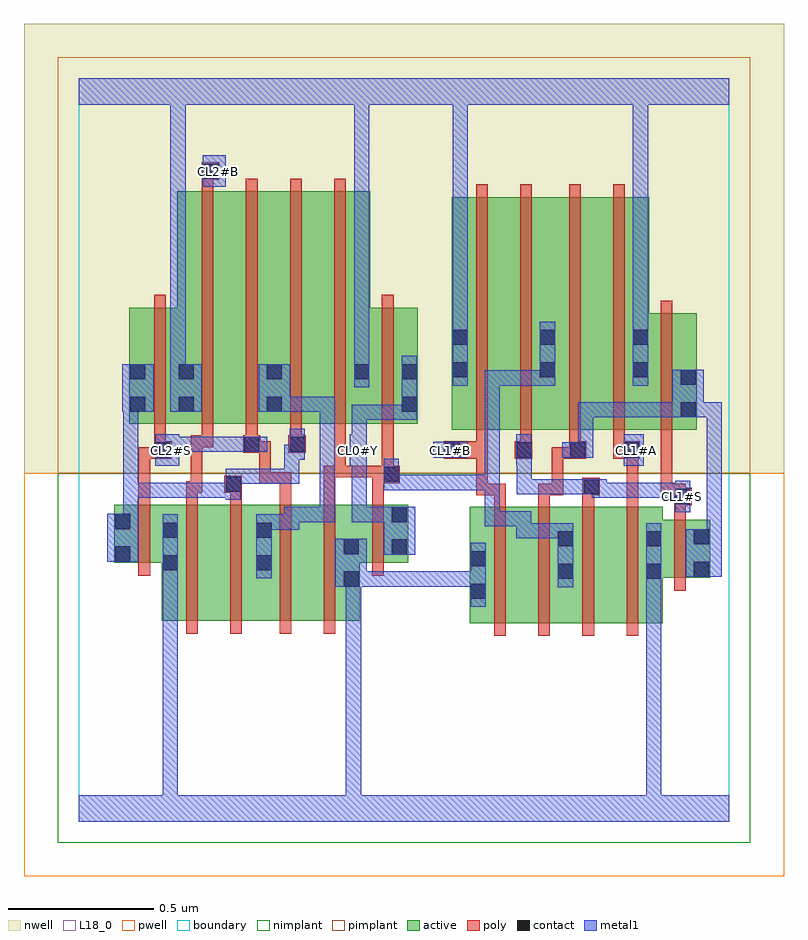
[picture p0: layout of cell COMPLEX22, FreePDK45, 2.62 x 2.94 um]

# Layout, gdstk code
import gdstk
lib = gdstk.Library(unit=1e-6, precision=1e-09)
def R(c, l, rs):  # rectangles x0, y0, x1, y1
    for r in rs: c.add(gdstk.rectangle(r[:2], r[2:], *l))
def A(c, l, x, y, w, h, nx, ny, dx, dy):  # array of equal rectangles
    R(c, l, [(x+i*dx, y+j*dy, x+i*dx+w, y+j*dy+h) for i in range(nx) for j in range(ny)])
active = (1, 0)
pwell = (2, 0)
nwell = (3, 0)
nimplant = (4, 0)
pimplant = (5, 0)
poly = (9, 0)
contact = (10, 0)
metal1 = (11, 0)
L18_0 = (18, 0)
boundary = (235, 0)

complex22 = lib.new_cell('COMPLEX22')
R(complex22, active, [(1.346,0.684,1.526,1.084), (1.526,0.684,1.706,1.084), (1.646,0.684,1.83,1.084), (1.83,0.684,2.01,1.084), (1.95,0.684,2.01,1.004), (0.286,0.692,0.466,1.092), (0.286,0.692,0.346,1.034), (0.466,0.692,0.668,1.092), (0.608,0.692,0.788,1.092), (0.788,0.692,0.968,1.092), (0.908,0.692,0.968,0.978), (0.608,0.756,0.668,1.034), (1.346,0.756,1.406,1.084), (1.646,0.756,1.706,1.004), (1.95,0.84,2.174,1.04), (2.114,0.84,2.174,1.04), (0.122,0.892,0.182,1.092), (0.122,0.892,0.346,1.092), (0.908,0.892,1.134,1.092), (1.074,0.916,1.134,1.092), (1.284,1.35,1.464,2.15), (1.284,1.35,1.344,2.044), (1.464,1.35,1.644,2.15), (1.584,1.35,1.784,2.15), (1.584,1.35,1.644,2.044), (1.784,1.35,1.964,2.15), (1.904,1.35,2.128,1.75), (1.904,1.35,1.964,1.698), (2.068,1.35,2.128,1.644), (0.174,1.37,0.234,1.644), (0.174,1.37,0.4,1.77), (0.34,1.37,0.52,2.17), (0.52,1.37,0.704,2.17), (0.644,1.37,0.824,2.17), (0.644,1.37,0.704,2.044), (0.824,1.37,1.004,2.17), (0.944,1.37,1.168,1.77), (0.944,1.37,1.004,1.746), (1.108,1.37,1.168,1.644), (0.34,1.408,0.4,1.644)])
R(complex22, pwell, [(-0.188,-0.188,2.428,1.2)])
R(complex22, nwell, [(-0.188,1.2,2.428,2.748)])
R(complex22, nimplant, [(-0.072,-0.072,2.312,1.2)])
R(complex22, pimplant, [(-0.072,1.2,2.312,2.632)])
A(complex22, poly, 1.43, 0.64, 0.04, 0.488, 4, 1, 0.152, 0)
A(complex22, poly, 1.43, 1.088, 0.04, 0.076, 3, 1, 0.152, 0)
A(complex22, poly, 0.424, 1.29, 0.04, 0.076, 3, 1, 0.152, 0)
A(complex22, poly, 0.424, 1.326, 0.04, 0.888, 4, 1, 0.152, 0)
R(complex22, poly, [(0.37,0.648,0.41,1.136), (0.522,0.648,0.562,1.136), (0.692,0.648,0.732,1.136), (0.844,0.648,0.884,1.136), (2.05,0.796,2.09,1.084), (0.206,0.848,0.246,1.136), (1.01,0.848,1.05,1.136), (2.05,1.044,2.09,1.13), (1.886,1.088,1.926,1.29), (2.05,1.09,2.11,1.15), (0.206,1.096,0.246,1.29), (0.37,1.096,0.41,1.172), (0.522,1.096,0.562,1.172), (0.692,1.096,0.732,1.204), (0.844,1.096,0.884,1.226), (1.01,1.096,1.05,1.206), (2.05,1.11,2.09,1.164), (1.368,1.124,1.408,1.29), (1.368,1.124,1.47,1.164), (1.582,1.124,1.668,1.164), (1.582,1.124,1.622,1.164), (1.628,1.124,1.668,1.164), (1.628,1.124,1.668,1.29), (1.734,1.124,1.794,1.184), (2.004,1.124,2.044,1.346), (2.004,1.124,2.09,1.164), (0.37,1.132,0.426,1.172), (0.386,1.132,0.426,1.33), (0.502,1.132,0.562,1.192), (0.622,1.164,0.662,1.204), (0.622,1.164,0.732,1.204), (0.622,1.164,0.662,1.31), (0.692,1.164,0.732,1.204), (1.01,1.166,1.106,1.226), (0.844,1.186,0.92,1.226), (0.88,1.186,0.92,1.226), (0.88,1.186,0.92,1.226), (0.88,1.186,0.92,1.366), (0.88,1.186,1.05,1.226), (1.01,1.186,1.05,1.226), (1.01,1.186,1.05,1.226), (1.044,1.186,1.084,1.226), (1.044,1.186,1.084,1.226), (1.044,1.186,1.084,1.366), (0.206,1.25,0.3,1.29), (0.26,1.25,0.32,1.31), (0.26,1.25,0.3,1.29), (1.256,1.25,1.408,1.31), (1.502,1.25,1.562,1.31), (1.628,1.25,1.668,1.29), (1.628,1.25,1.728,1.29), (1.688,1.25,1.748,1.31), (1.84,1.25,1.932,1.31), (1.886,1.25,1.926,1.29), (1.886,1.25,1.926,1.29), (0.26,1.27,0.3,1.366), (0.566,1.27,0.626,1.33), (0.586,1.27,0.662,1.31), (0.622,1.27,0.662,1.31), (0.722,1.27,0.782,1.33), (1.368,1.27,1.408,1.346), (1.52,1.27,1.56,1.346), (1.688,1.27,1.728,1.346), (1.84,1.27,1.88,1.346), (0.386,1.29,0.464,1.33), (1.368,1.306,1.408,2.194), (1.52,1.306,1.56,2.194), (1.688,1.306,1.728,2.194), (1.84,1.306,1.88,2.194), (2.004,1.306,2.044,1.794), (0.26,1.326,0.3,1.814), (1.044,1.326,1.084,1.814), (0.424,2.174,0.464,2.25), (0.424,2.21,0.484,2.27)])
R(complex22, contact, [(1.35,0.768,1.402,0.82), (0.912,0.81,0.964,0.862), (1.65,0.836,1.702,0.888), (1.954,0.836,2.006,0.888), (2.118,0.844,2.17,0.896), (0.29,0.866,0.342,0.918), (0.612,0.866,0.664,0.918), (1.35,0.88,1.402,0.932), (0.126,0.896,0.178,0.948), (1.078,0.92,1.13,0.972), (0.912,0.922,0.964,0.974), (1.65,0.948,1.702,1), (1.954,0.948,2.006,1), (2.118,0.956,2.17,1.008), (0.29,0.978,0.342,1.03), (0.612,0.978,0.664,1.03), (0.126,1.008,0.178,1.06), (1.078,1.032,1.13,1.084), (2.054,1.094,2.106,1.146), (1.738,1.128,1.79,1.18), (0.506,1.136,0.558,1.188), (1.05,1.17,1.102,1.222), (0.264,1.254,0.316,1.306), (1.26,1.254,1.312,1.306), (1.506,1.254,1.558,1.306), (1.692,1.254,1.744,1.306), (1.876,1.254,1.928,1.306), (0.57,1.274,0.622,1.326), (0.726,1.274,0.778,1.326), (2.072,1.392,2.124,1.444), (0.178,1.412,0.23,1.464), (0.344,1.412,0.396,1.464), (0.648,1.412,0.7,1.464), (1.112,1.412,1.164,1.464), (2.072,1.504,2.124,1.556), (0.178,1.524,0.23,1.576), (0.344,1.524,0.396,1.576), (0.648,1.524,0.7,1.576), (0.948,1.524,1,1.576), (1.112,1.524,1.164,1.576), (1.288,1.53,1.34,1.582), (1.588,1.53,1.64,1.582), (1.908,1.53,1.96,1.582), (1.288,1.642,1.34,1.694), (1.588,1.642,1.64,1.694), (1.908,1.642,1.96,1.694), (0.428,2.214,0.48,2.266)])
A(complex22, metal1, 0.83, 1.032, 0.052, 0.052, 3, 1, 0.11, 0)
R(complex22, metal1, [(0,0,2.24,0.092), (0.29,0.04,0.342,0.092), (0.29,0.04,0.342,0.092), (0.29,0.04,0.342,0.092), (0.29,0.04,0.342,0.092), (0.29,0.04,0.342,0.89), (0.92,0.04,0.972,0.862), (1.954,0.04,2.006,0.092), (1.954,0.04,2.006,0.092), (1.954,0.04,2.006,0.092), (1.954,0.04,2.006,0.092), (1.954,0.04,2.006,0.092), (1.954,0.04,2.006,0.092), (1.954,0.04,2.006,0.092), (1.954,0.04,2.006,0.092), (1.954,0.04,2.006,0.092), (1.954,0.04,2.006,0.092), (1.954,0.04,2.006,0.092), (1.954,0.04,2.006,0.092), (1.954,0.04,2.006,0.86), (1.35,0.74,1.402,0.96), (1.65,0.808,1.702,1.028), (1.954,0.808,2.006,1.028), (0.884,0.81,0.992,0.974), (0.92,0.81,0.972,0.862), (0.92,0.81,0.972,0.862), (0.92,0.81,0.972,0.862), (0.92,0.81,0.972,0.862), (0.92,0.81,0.972,0.862), (0.92,0.81,0.972,0.862), (0.92,0.81,0.972,0.862), (0.92,0.81,0.972,0.862), (0.92,0.81,0.972,0.862), (0.92,0.81,0.972,0.862), (0.92,0.81,0.972,0.862), (0.92,0.81,0.972,0.862), (0.94,0.81,0.992,0.862), (0.94,0.81,0.992,0.862), (0.94,0.81,1.162,0.862), (1.11,0.81,1.162,0.862), (1.11,0.81,1.402,0.862), (0.29,0.838,0.342,0.89), (0.29,0.838,0.342,0.89), (0.29,0.838,0.342,0.89), (0.29,0.838,0.342,0.89), (0.29,0.838,0.342,0.89), (0.29,0.838,0.342,0.89), (0.29,0.838,0.342,0.89), (0.29,0.838,0.342,0.89), (0.29,0.838,0.342,1.058), (0.612,0.838,0.664,1.058), (2.09,0.844,2.214,1.008), (0.098,0.896,0.206,1.06), (1.05,0.92,1.158,1.084), (2.162,0.956,2.214,1.008), (2.162,0.956,2.214,1.008), (2.162,0.956,2.214,1.444), (1.506,0.976,1.702,1.028), (1.506,0.976,1.558,1.07), (0.612,1.006,0.76,1.058), (0.708,1.006,0.76,1.084), (0.154,1.008,0.206,1.168), (1.398,1.018,1.45,1.07), (1.398,1.018,1.558,1.07), (1.398,1.018,1.45,1.194), (0.708,1.032,0.882,1.084), (0.83,1.032,0.882,1.464), (0.94,1.032,1.102,1.084), (0.94,1.032,0.992,1.278), (1.05,1.032,1.102,1.084), (2.054,1.066,2.106,1.174), (0.506,1.108,0.558,1.216), (0.154,1.116,0.206,1.168), (0.154,1.116,0.206,1.168), (0.154,1.116,0.206,1.168), (0.154,1.116,0.206,1.168), (0.154,1.116,0.206,1.168), (0.154,1.116,0.368,1.168), (0.154,1.116,0.206,1.464), (0.316,1.116,0.368,1.168), (0.316,1.116,0.452,1.168), (0.4,1.116,0.452,1.168), (0.4,1.116,0.478,1.168), (0.426,1.116,0.478,1.168), (0.426,1.116,0.558,1.168), (1.766,1.116,1.928,1.168), (1.766,1.116,1.818,1.18), (1.876,1.116,1.928,1.168), (1.876,1.116,1.928,1.168), (1.876,1.116,1.928,1.168), (1.876,1.116,2.106,1.168), (1.508,1.128,1.56,1.18), (1.508,1.128,1.762,1.18), (1.508,1.128,1.56,1.278), (1.71,1.128,1.818,1.18), (1.766,1.128,1.818,1.18), (1.05,1.142,1.102,1.194), (1.05,1.142,1.102,1.194), (1.05,1.142,1.102,1.25), (1.05,1.142,1.338,1.194), (1.286,1.142,1.338,1.194), (1.286,1.142,1.448,1.194), (1.396,1.142,1.448,1.194), (1.396,1.142,1.448,1.194), (1.396,1.142,1.45,1.194), (1.398,1.142,1.45,1.554), (0.506,1.164,0.76,1.216), (0.708,1.164,0.76,1.216), (0.708,1.164,0.76,1.298), (0.264,1.226,0.346,1.334), (0.934,1.226,0.992,1.334), (1.506,1.226,1.558,1.334), (1.506,1.226,1.56,1.278), (1.508,1.226,1.56,1.278), (1.876,1.226,1.946,1.334), (0.708,1.246,0.76,1.298), (0.708,1.246,0.778,1.298), (0.726,1.246,0.778,1.354), (1.22,1.254,1.34,1.308), (1.664,1.254,1.772,1.306), (1.72,1.254,1.772,1.306), (1.72,1.254,1.772,1.306), (1.72,1.254,1.772,1.444), (0.294,1.274,0.346,1.326), (0.294,1.274,0.346,1.326), (0.294,1.274,0.452,1.326), (0.4,1.274,0.452,1.326), (0.4,1.274,0.478,1.326), (0.426,1.274,0.478,1.326), (0.426,1.274,0.594,1.326), (0.542,1.274,0.65,1.326), (0.94,1.282,0.992,1.436), (0.94,1.384,0.992,1.436), (0.94,1.384,0.992,1.436), (0.94,1.384,0.992,1.436), (0.94,1.384,0.992,1.436), (0.94,1.384,0.992,1.436), (0.94,1.384,1.164,1.436), (1.112,1.384,1.164,1.604), (1.72,1.392,1.772,1.444), (1.72,1.392,1.986,1.444), (1.934,1.392,1.986,1.444), (1.934,1.392,1.986,1.444), (1.934,1.392,1.986,1.444), (1.934,1.392,2.096,1.444), (2.044,1.392,2.096,1.444), (2.044,1.392,2.096,1.444), (2.044,1.392,2.152,1.556), (2.1,1.392,2.152,1.444), (2.1,1.392,2.214,1.444), (0.15,1.412,0.258,1.576), (0.316,1.412,0.424,1.576), (0.62,1.412,0.728,1.576), (0.676,1.412,0.76,1.464), (0.708,1.412,0.76,1.464), (0.708,1.412,0.882,1.464), (0.83,1.412,0.882,1.464), (0.83,1.412,0.882,1.464), (0.83,1.412,0.882,1.464), (0.83,1.412,0.882,1.464), (0.83,1.412,0.882,1.464), (0.948,1.496,1,1.604), (1.288,1.502,1.34,1.722), (1.398,1.502,1.45,1.554), (1.398,1.502,1.45,1.554), (1.398,1.502,1.45,1.554), (1.398,1.502,1.558,1.554), (1.506,1.502,1.558,1.554), (1.506,1.502,1.64,1.554), (1.588,1.502,1.64,1.722), (1.908,1.502,1.96,1.722), (0.316,1.524,0.368,2.52), (0.948,1.552,1,2.52), (1.288,1.67,1.34,1.722), (1.288,1.67,1.34,1.722), (1.288,1.67,1.34,1.722), (1.288,1.67,1.34,1.722), (1.288,1.67,1.34,1.722), (1.288,1.67,1.34,1.722), (1.288,1.67,1.34,1.722), (1.288,1.67,1.34,1.722), (1.288,1.67,1.34,2.52), (1.908,1.67,1.96,1.722), (1.908,1.67,1.96,1.722), (1.908,1.67,1.96,1.722), (1.908,1.67,1.96,1.722), (1.908,1.67,1.96,2.52), (0.428,2.186,0.506,2.294), (0,2.468,2.24,2.56), (0.316,2.468,0.368,2.52), (0.316,2.468,0.368,2.52), (0.316,2.468,0.368,2.52), (0.316,2.468,0.368,2.52), (0.316,2.468,0.368,2.52), (0.316,2.468,0.368,2.52), (0.316,2.468,0.368,2.52), (0.316,2.468,0.368,2.52), (0.948,2.468,1,2.52), (0.948,2.468,1,2.52), (0.948,2.468,1,2.52), (0.948,2.468,1,2.52), (0.948,2.468,1,2.52), (0.948,2.468,1,2.52), (0.948,2.468,1,2.52), (0.948,2.468,1,2.52), (1.908,2.468,1.96,2.52), (1.908,2.468,1.96,2.52), (1.908,2.468,1.96,2.52), (1.908,2.468,1.96,2.52)])
R(complex22, L18_0, [(0,0,2.24,0.092), (0.29,0.04,0.342,0.092), (0.29,0.04,0.342,0.092), (0.29,0.04,0.342,0.092), (0.29,0.04,0.342,0.092), (0.29,0.04,0.342,0.89), (0.92,0.04,0.972,0.862), (1.954,0.04,2.006,0.092), (1.954,0.04,2.006,0.092), (1.954,0.04,2.006,0.092), (1.954,0.04,2.006,0.092), (1.954,0.04,2.006,0.092), (1.954,0.04,2.006,0.092), (1.954,0.04,2.006,0.092), (1.954,0.04,2.006,0.092), (1.954,0.04,2.006,0.092), (1.954,0.04,2.006,0.092), (1.954,0.04,2.006,0.092), (1.954,0.04,2.006,0.092), (1.954,0.04,2.006,0.86), (1.35,0.74,1.402,0.96), (1.954,0.808,2.006,1.028), (0.884,0.81,0.992,0.974), (0.92,0.81,0.972,0.862), (0.92,0.81,0.972,0.862), (0.92,0.81,0.972,0.862), (0.92,0.81,0.972,0.862), (0.92,0.81,0.972,0.862), (0.92,0.81,0.972,0.862), (0.92,0.81,0.972,0.862), (0.92,0.81,0.972,0.862), (0.92,0.81,0.972,0.862), (0.92,0.81,0.972,0.862), (0.92,0.81,0.972,0.862), (0.92,0.81,0.972,0.862), (0.94,0.81,0.992,0.862), (0.94,0.81,0.992,0.862), (0.94,0.81,1.162,0.862), (1.11,0.81,1.162,0.862), (1.11,0.81,1.402,0.862), (0.29,0.838,0.342,0.89), (0.29,0.838,0.342,0.89), (0.29,0.838,0.342,0.89), (0.29,0.838,0.342,0.89), (0.29,0.838,0.342,0.89), (0.29,0.838,0.342,0.89), (0.29,0.838,0.342,0.89), (0.29,0.838,0.342,0.89), (0.29,0.838,0.342,1.058), (1.05,0.92,1.158,1.084), (0.94,1.032,0.992,1.084), (0.94,1.032,0.992,1.278), (0.94,1.032,1.102,1.084), (1.05,1.032,1.102,1.084), (1.05,1.032,1.102,1.084), (2.054,1.066,2.106,1.174), (2.054,1.094,2.106,1.146), (1.766,1.116,1.928,1.168), (1.766,1.116,1.818,1.18), (1.876,1.116,1.928,1.168), (1.876,1.116,1.928,1.168), (1.876,1.116,1.928,1.168), (1.876,1.116,2.106,1.168), (1.508,1.128,1.56,1.18), (1.508,1.128,1.56,1.278), (1.508,1.128,1.762,1.18), (1.71,1.128,1.818,1.18), (1.766,1.128,1.818,1.18), (0.264,1.226,0.346,1.334), (0.934,1.226,0.992,1.334), (1.506,1.226,1.558,1.334), (1.506,1.226,1.56,1.278), (1.508,1.226,1.56,1.278), (1.876,1.226,1.946,1.334), (0.294,1.254,0.346,1.306), (0.934,1.254,0.986,1.306), (1.22,1.254,1.34,1.308), (1.254,1.254,1.306,1.306), (1.894,1.254,1.946,1.306), (0.294,1.274,0.346,1.326), (0.294,1.274,0.346,1.326), (0.294,1.274,0.452,1.326), (0.4,1.274,0.452,1.326), (0.4,1.274,0.478,1.326), (0.426,1.274,0.478,1.326), (0.426,1.274,0.594,1.326), (0.542,1.274,0.65,1.326), (0.94,1.282,0.992,1.436), (0.94,1.384,0.992,1.436), (0.94,1.384,0.992,1.436), (0.94,1.384,0.992,1.436), (0.94,1.384,0.992,1.436), (0.94,1.384,0.992,1.436), (0.94,1.384,1.164,1.436), (1.112,1.384,1.164,1.604), (0.316,1.412,0.424,1.576), (0.948,1.496,1,1.604), (1.288,1.502,1.34,1.722), (1.908,1.502,1.96,1.722), (0.316,1.524,0.368,2.52), (0.948,1.552,1,2.52), (1.288,1.67,1.34,1.722), (1.288,1.67,1.34,1.722), (1.288,1.67,1.34,1.722), (1.288,1.67,1.34,1.722), (1.288,1.67,1.34,1.722), (1.288,1.67,1.34,1.722), (1.288,1.67,1.34,1.722), (1.288,1.67,1.34,1.722), (1.288,1.67,1.34,2.52), (1.908,1.67,1.96,1.722), (1.908,1.67,1.96,1.722), (1.908,1.67,1.96,1.722), (1.908,1.67,1.96,1.722), (1.908,1.67,1.96,2.52), (0.428,2.186,0.506,2.294), (0.454,2.214,0.506,2.266), (0,2.468,2.24,2.56), (0.316,2.468,0.368,2.52), (0.316,2.468,0.368,2.52), (0.316,2.468,0.368,2.52), (0.316,2.468,0.368,2.52), (0.316,2.468,0.368,2.52), (0.316,2.468,0.368,2.52), (0.316,2.468,0.368,2.52), (0.316,2.468,0.368,2.52), (0.948,2.468,1,2.52), (0.948,2.468,1,2.52), (0.948,2.468,1,2.52), (0.948,2.468,1,2.52), (0.948,2.468,1,2.52), (0.948,2.468,1,2.52), (0.948,2.468,1,2.52), (0.948,2.468,1,2.52), (1.908,2.468,1.96,2.52), (1.908,2.468,1.96,2.52), (1.908,2.468,1.96,2.52), (1.908,2.468,1.96,2.52)])
R(complex22, boundary, [(0,0,2.24,2.56)])
complex22.add(gdstk.Label('CL0#Y', (0.96,1.28), layer=11, texttype=0))
complex22.add(gdstk.Label('CL1#A', (1.92,1.28), layer=11, texttype=0))
complex22.add(gdstk.Label('CL1#B', (1.28,1.28), layer=11, texttype=0))
complex22.add(gdstk.Label('CL1#S', (2.08,1.12), layer=11, texttype=0))
complex22.add(gdstk.Label('CL2#B', (0.48,2.24), layer=11, texttype=0))
complex22.add(gdstk.Label('CL2#S', (0.32,1.28), layer=11, texttype=0))

lib.write_gds('COMPLEX22.gds')
